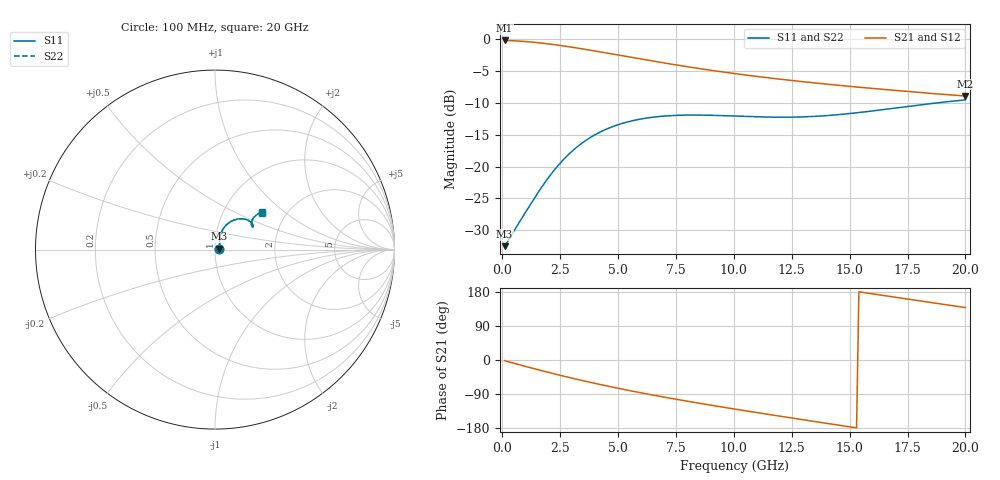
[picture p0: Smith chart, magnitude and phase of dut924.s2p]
! Touchstone file exported from HFSS 2024.1.0
!  File:  C:/UserFiles/LocalFiles/RDL_TSV_Batchsim/temp_RDL_TSV_924_1779959087.aedt
!  Generated:  05:26:46 PM May 28, 2026
!  Design:  RDL_TSV
!  Project:  temp_RDL_TSV_924_1779959087
!  Setup:  Setup1
!  Solution:  Sweep
! Variables:
!  dtsv = 5.83um
!  hbump = 3um
!  htsv = 81.93um
!  ldown = 518.79um
!  lrdl = 405.3um
!  p = 40
!  p1 = 43.02um
!  rhole = 10um
!  subl = 3177.57um
!  t = 450um
!  tdown = 4.53um
!  trdl = 2.04um
!  viad = 10um
!  wdown = 28.62um
!  wrdl = 16.24um
!  xbump = 18um
# GHz S MA R 50.000000
! Terminal data exported
! Port[1] = TM1_1_T1
! Port[2] = TM1_4_T1
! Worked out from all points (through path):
!   200 points, 100 MHz to 20 GHz, reference 50 ohm
!   highest |S21| = -0.21 dB at 100 MHz (marker M1); lowest = -8.9 dB at 20 GHz (marker M2)
!   group delay of S21, straight-line fit = 29.4 ps
!   lowest |S11| = -32.5 dB at 100 MHz (marker M3), VSWR 1.05, Z = 52.4 + j0.455 ohm
!   |S11| at or under -10 dB: start of sweep to 18.79 GHz
!   |S22| runs from -32.5 to -9.5 dB; largest |S21 - S12| = 1.2e-14
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0.1  0.02373 10.5  0.9765 -1.8  0.9765 -1.8  0.02373 10.5
! Gamma 0 0 0 0
! Port Impedance 50 0 50 0
0.5  0.03113 36.0  0.9705 -8.6  0.9705 -8.6  0.03114 36.0
0.9  0.04088 51.0  0.9607 -15.2  0.9607 -15.2  0.04088 50.9
1.4  0.05693 62.8  0.9436 -23.3  0.9436 -23.3  0.0569 62.7
1.9  0.07764 68.4  0.9222 -31.2  0.9222 -31.2  0.07756 68.3
2.3  0.09656 69.7  0.9026 -37.4  0.9026 -37.4  0.09641 69.5
2.7  0.1164 69.0  0.8814 -43.4  0.8814 -43.4  0.1162 68.9
3.5  0.1555 64.7  0.8364 -54.8  0.8364 -54.8  0.1551 64.6
4.2  0.1856 59.4  0.7962 -64.3  0.7962 -64.3  0.1851 59.3
5  0.2131 53.2  0.751 -74.6  0.751 -74.6  0.2125 53.1
5.9  0.2347 46.7  0.7029 -85.5  0.7029 -85.5  0.2339 46.6
6.8  0.2474 41.1  0.6589 -95.8  0.6589 -95.8  0.2465 41.0
7.6  0.2526 37.2  0.6236 -104.6  0.6236 -104.6  0.2517 37.1
8.4  0.2537 34.2  0.5918 -113.0  0.5918 -113.0  0.2527 34.1
9.2  0.2521 32.2  0.5632 -121.2  0.5632 -121.2  0.2511 32.2
10.1  0.2488 31.1  0.5348 -130.1  0.5348 -130.1  0.2478 31.1
11.7  0.2441 31.7  0.492 -145.5  0.492 -145.5  0.243 31.7
13.4  0.2472 34.7  0.4551 -161.5  0.4551 -161.5  0.2462 34.8
15  0.2606 37.8  0.4261 -176.4  0.4261 -176.4  0.2597 37.9
16.7  0.2836 39.7  0.3997 168.1  0.3997 168.1  0.2829 39.7
18.4  0.3102 39.7  0.3767 152.7  0.3767 152.7  0.3095 39.7
20  0.3337 38.3  0.3577 138.4  0.3577 138.4  0.3331 38.3
